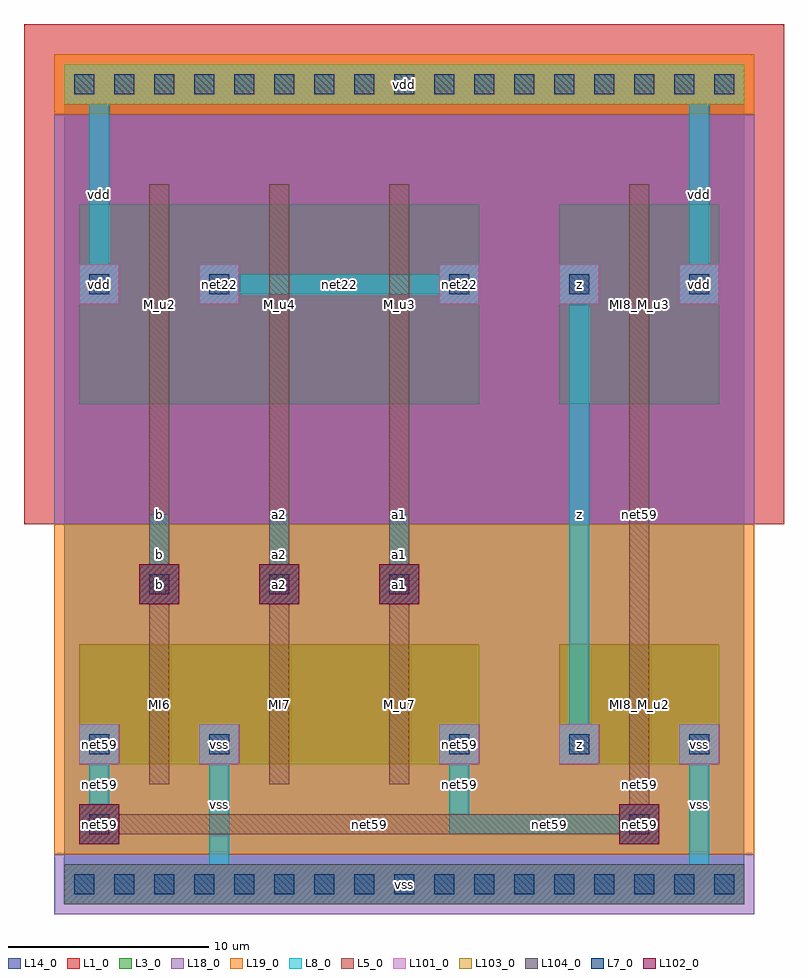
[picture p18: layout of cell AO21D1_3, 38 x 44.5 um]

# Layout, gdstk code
import gdstk
lib = gdstk.Library(unit=1e-6, precision=1e-09)
def R(c, l, rs):  # rectangles x0, y0, x1, y1
    for r in rs: c.add(gdstk.rectangle(r[:2], r[2:], *l))
def A(c, l, x, y, w, h, nx, ny, dx, dy):  # array of equal rectangles
    R(c, l, [(x+i*dx, y+j*dy, x+i*dx+w, y+j*dy+h) for i in range(nx) for j in range(ny)])
L1_0 = (1, 0)
L3_0 = (3, 0)
L5_0 = (5, 0)
L7_0 = (7, 0)
L8_0 = (8, 0)
L13_0 = (13, 0)
L14_0 = (14, 0)
L18_0 = (18, 0)
L19_0 = (19, 0)
L101_0 = (101, 0)
L102_0 = (102, 0)
L103_0 = (103, 0)
L104_0 = (104, 0)

ao21d1_3 = lib.new_cell('AO21D1_3')
R(ao21d1_3, L1_0, [(-2,18,36,43)])
A(ao21d1_3, L3_0, 0.75, 6, 8, 6, 3, 1, 6, 0)
A(ao21d1_3, L3_0, 18.75, 6, 2, 2, 3, 2, 6, 23)
A(ao21d1_3, L3_0, 0.75, 24, 8, 10, 3, 1, 6, 0)
R(ao21d1_3, L3_0, [(0,-1,34,1), (0,-1,34,1), (0.75,6,2.75,8), (6.75,6,8.75,8), (24.75,6,32.75,12), (24.75,24,32.75,34), (0.75,29,2.75,31), (6.75,29,8.75,31), (0,39,34,41), (0,39,34,41)])
A(ao21d1_3, L5_0, 4.25, 5, 1, 8, 3, 1, 6, 0)
A(ao21d1_3, L5_0, 4.25, 6.5, 1, 24, 3, 1, 6, 0)
A(ao21d1_3, L5_0, 3.75, 14, 2, 2, 3, 1, 6, 0)
A(ao21d1_3, L5_0, 4.25, 23, 1, 12, 3, 1, 6, 0)
R(ao21d1_3, L5_0, [(0.75,2,2.75,4), (27.75,2,29.75,4), (1.25,2.5,29.25,3.5), (28.25,2.5,29.25,7.5), (28.25,2.5,29.25,7.5), (28.25,5,29.25,13), (28.25,6.5,29.25,30.5), (28.25,23,29.25,35)])
A(ao21d1_3, L7_0, 0.5, -0.5, 1, 1, 17, 2, 2, 40)
A(ao21d1_3, L7_0, 19.25, 6.5, 1, 1, 3, 2, 6, 23)
A(ao21d1_3, L7_0, 4.25, 14.5, 1, 1, 3, 1, 6, 0)
R(ao21d1_3, L7_0, [(1.25,2.5,2.25,3.5), (28.25,2.5,29.25,3.5), (1.25,6.5,2.25,7.5), (7.25,6.5,8.25,7.5), (1.25,29.5,2.25,30.5), (7.25,29.5,8.25,30.5)])
A(ao21d1_3, L8_0, 18.75, 6, 2, 2, 3, 2, 6, 23)
A(ao21d1_3, L8_0, 3.75, 14, 2, 2, 3, 1, 6, 0)
A(ao21d1_3, L8_0, 4.25, 14.5, 1, 4, 3, 1, 6, 0)
R(ao21d1_3, L8_0, [(0,-1,34,1), (7.25,0.5,8.25,7.5), (31.25,0.5,32.25,7.5), (0.75,2,2.75,4), (27.75,2,29.75,4), (1.25,2.5,2.25,7.5), (19.25,2.5,20.25,7.5), (19.25,2.5,29.25,3.5), (0.75,6,2.75,8), (6.75,6,8.75,8), (25.25,6.5,26.25,30.5), (0.75,29,2.75,31), (6.75,29,8.75,31), (1.25,29.5,2.25,39.5), (7.25,29.5,20.25,30.5), (31.25,29.5,32.25,39.5), (0,39,34,41)])
R(ao21d1_3, L14_0, [(0,0,34,40)])
R(ao21d1_3, L18_0, [(-0.5,-1.5,34.5,1.5), (-0.5,18,34.5,38.5)])
R(ao21d1_3, L19_0, [(-0.5,1.5,34.5,18), (-0.5,38.5,34.5,41.5)])
A(ao21d1_3, L101_0, 0, -1, 2, 2, 17, 2, 2, 40)
A(ao21d1_3, L101_0, 18.75, 6, 2, 2, 3, 2, 6, 23)
R(ao21d1_3, L101_0, [(0.75,6,2.75,8), (6.75,6,8.75,8), (0.75,29,2.75,31), (6.75,29,8.75,31)])
A(ao21d1_3, L102_0, 3.75, 14, 2, 2, 3, 1, 6, 0)
R(ao21d1_3, L102_0, [(0.75,2,2.75,4), (27.75,2,29.75,4)])
R(ao21d1_3, L103_0, [(0,39,34,41)])
R(ao21d1_3, L104_0, [(0,-1,34,1)])
ao21d1_3.add(gdstk.FlexPath([(0.75,3),(32.75,3)], 0, ends="flush", simple_path=True, layer=13, datatype=0))  # L13_0
ao21d1_3.add(gdstk.FlexPath([(0.75,7),(32.75,7)], 0, ends="flush", simple_path=True, layer=13, datatype=0))  # L13_0
ao21d1_3.add(gdstk.FlexPath([(0.75,11),(32.75,11)], 0, ends="flush", simple_path=True, layer=13, datatype=0))  # L13_0
ao21d1_3.add(gdstk.FlexPath([(0.75,15),(32.75,15)], 0, ends="flush", simple_path=True, layer=13, datatype=0))  # L13_0
ao21d1_3.add(gdstk.FlexPath([(0.75,18),(32.75,18)], 0, ends="flush", simple_path=True, layer=13, datatype=0))  # L13_0
ao21d1_3.add(gdstk.FlexPath([(0.75,21),(32.75,21)], 0, ends="flush", simple_path=True, layer=13, datatype=0))  # L13_0
ao21d1_3.add(gdstk.FlexPath([(0.75,25),(32.75,25)], 0, ends="flush", simple_path=True, layer=13, datatype=0))  # L13_0
ao21d1_3.add(gdstk.FlexPath([(0.75,30),(32.75,30)], 0, ends="flush", simple_path=True, layer=13, datatype=0))  # L13_0
ao21d1_3.add(gdstk.FlexPath([(0.75,33),(32.75,33)], 0, ends="flush", simple_path=True, layer=13, datatype=0))  # L13_0
ao21d1_3.add(gdstk.FlexPath([(0.75,37),(32.75,37)], 0, ends="flush", simple_path=True, layer=13, datatype=0))  # L13_0
ao21d1_3.add(gdstk.FlexPath([(1.75,0.5),(1.75,39.5)], 0, ends="flush", simple_path=True, layer=13, datatype=0))  # L13_0
ao21d1_3.add(gdstk.FlexPath([(4.75,0.5),(4.75,39.5)], 0, ends="flush", simple_path=True, layer=13, datatype=0))  # L13_0
ao21d1_3.add(gdstk.FlexPath([(7.75,0.5),(7.75,39.5)], 0, ends="flush", simple_path=True, layer=13, datatype=0))  # L13_0
ao21d1_3.add(gdstk.FlexPath([(10.75,0.5),(10.75,39.5)], 0, ends="flush", simple_path=True, layer=13, datatype=0))  # L13_0
ao21d1_3.add(gdstk.FlexPath([(13.75,0.5),(13.75,39.5)], 0, ends="flush", simple_path=True, layer=13, datatype=0))  # L13_0
ao21d1_3.add(gdstk.FlexPath([(16.75,0.5),(16.75,39.5)], 0, ends="flush", simple_path=True, layer=13, datatype=0))  # L13_0
ao21d1_3.add(gdstk.FlexPath([(19.75,0.5),(19.75,39.5)], 0, ends="flush", simple_path=True, layer=13, datatype=0))  # L13_0
ao21d1_3.add(gdstk.FlexPath([(22.75,0.5),(22.75,39.5)], 0, ends="flush", simple_path=True, layer=13, datatype=0))  # L13_0
ao21d1_3.add(gdstk.FlexPath([(25.75,0.5),(25.75,39.5)], 0, ends="flush", simple_path=True, layer=13, datatype=0))  # L13_0
ao21d1_3.add(gdstk.FlexPath([(28.75,0.5),(28.75,39.5)], 0, ends="flush", simple_path=True, layer=13, datatype=0))  # L13_0
ao21d1_3.add(gdstk.FlexPath([(31.75,0.5),(31.75,39.5)], 0, ends="flush", simple_path=True, layer=13, datatype=0))  # L13_0
ao21d1_3.add(gdstk.Label('MI7', (10.75,9), layer=3, texttype=0))
ao21d1_3.add(gdstk.Label('M_u7', (16.75,9), layer=3, texttype=0))
ao21d1_3.add(gdstk.Label('MI6', (4.75,9), layer=3, texttype=0))
ao21d1_3.add(gdstk.Label('MI8_M_u2', (28.75,9), layer=3, texttype=0))
ao21d1_3.add(gdstk.Label('M_u3', (16.75,29), layer=3, texttype=0))
ao21d1_3.add(gdstk.Label('MI8_M_u3', (28.75,29), layer=3, texttype=0))
ao21d1_3.add(gdstk.Label('M_u4', (10.75,29), layer=3, texttype=0))
ao21d1_3.add(gdstk.Label('M_u2', (4.75,29), layer=3, texttype=0))
ao21d1_3.add(gdstk.Label('net59', (19.75,7), layer=3, texttype=0))
ao21d1_3.add(gdstk.Label('net59', (1.75,7), layer=3, texttype=0))
ao21d1_3.add(gdstk.Label('z', (25.75,7), layer=3, texttype=0))
ao21d1_3.add(gdstk.Label('z', (25.75,30), layer=3, texttype=0))
ao21d1_3.add(gdstk.Label('net22', (19.75,30), layer=3, texttype=0))
ao21d1_3.add(gdstk.Label('net22', (7.75,30), layer=3, texttype=0))
ao21d1_3.add(gdstk.Label('vss', (7.75,7), layer=3, texttype=0))
ao21d1_3.add(gdstk.Label('vss', (31.75,7), layer=3, texttype=0))
ao21d1_3.add(gdstk.Label('vdd', (31.75,30), layer=3, texttype=0))
ao21d1_3.add(gdstk.Label('vdd', (1.75,30), layer=3, texttype=0))
ao21d1_3.add(gdstk.Label('a2', (10.75,18.5), layer=5, texttype=0))
ao21d1_3.add(gdstk.Label('a2', (10.75,15), layer=5, texttype=0))
ao21d1_3.add(gdstk.Label('net59', (28.75,3), layer=5, texttype=0))
ao21d1_3.add(gdstk.Label('net59', (28.75,5), layer=5, texttype=0))
ao21d1_3.add(gdstk.Label('net59', (28.75,18.5), layer=5, texttype=0))
ao21d1_3.add(gdstk.Label('net59', (1.75,3), layer=5, texttype=0))
ao21d1_3.add(gdstk.Label('net59', (15.25,3), layer=5, texttype=0))
ao21d1_3.add(gdstk.Label('net59', (28.75,5), layer=5, texttype=0))
ao21d1_3.add(gdstk.Label('a1', (16.75,18.5), layer=5, texttype=0))
ao21d1_3.add(gdstk.Label('a1', (16.75,15), layer=5, texttype=0))
ao21d1_3.add(gdstk.Label('b', (4.75,18.5), layer=5, texttype=0))
ao21d1_3.add(gdstk.Label('b', (4.75,15), layer=5, texttype=0))
ao21d1_3.add(gdstk.Label('net59', (19.75,7), layer=101, texttype=0))
ao21d1_3.add(gdstk.Label('net59', (1.75,7), layer=101, texttype=0))
ao21d1_3.add(gdstk.Label('z', (25.75,7), layer=101, texttype=0))
ao21d1_3.add(gdstk.Label('z', (25.75,30), layer=101, texttype=0))
ao21d1_3.add(gdstk.Label('net22', (19.75,30), layer=101, texttype=0))
ao21d1_3.add(gdstk.Label('net22', (7.75,30), layer=101, texttype=0))
ao21d1_3.add(gdstk.Label('vss', (7.75,7), layer=101, texttype=0))
ao21d1_3.add(gdstk.Label('vss', (31.75,7), layer=101, texttype=0))
ao21d1_3.add(gdstk.Label('vdd', (31.75,30), layer=101, texttype=0))
ao21d1_3.add(gdstk.Label('vdd', (1.75,30), layer=101, texttype=0))
ao21d1_3.add(gdstk.Label('a2', (10.75,15), layer=102, texttype=0))
ao21d1_3.add(gdstk.Label('net59', (28.75,3), layer=102, texttype=0))
ao21d1_3.add(gdstk.Label('net59', (1.75,3), layer=102, texttype=0))
ao21d1_3.add(gdstk.Label('a1', (16.75,15), layer=102, texttype=0))
ao21d1_3.add(gdstk.Label('b', (4.75,15), layer=102, texttype=0))
ao21d1_3.add(gdstk.Label('a2', (10.75,15), layer=8, texttype=0))
ao21d1_3.add(gdstk.Label('a2', (10.75,16.5), layer=8, texttype=0))
ao21d1_3.add(gdstk.Label('net59', (19.75,7), layer=8, texttype=0))
ao21d1_3.add(gdstk.Label('net59', (1.75,7), layer=8, texttype=0))
ao21d1_3.add(gdstk.Label('net59', (19.75,5), layer=8, texttype=0))
ao21d1_3.add(gdstk.Label('net59', (24.25,3), layer=8, texttype=0))
ao21d1_3.add(gdstk.Label('net59', (28.75,3), layer=8, texttype=0))
ao21d1_3.add(gdstk.Label('net59', (1.75,5), layer=8, texttype=0))
ao21d1_3.add(gdstk.Label('net59', (1.75,3), layer=8, texttype=0))
ao21d1_3.add(gdstk.Label('a1', (16.75,15), layer=8, texttype=0))
ao21d1_3.add(gdstk.Label('a1', (16.75,16.5), layer=8, texttype=0))
ao21d1_3.add(gdstk.Label('b', (4.75,15), layer=8, texttype=0))
ao21d1_3.add(gdstk.Label('b', (4.75,16.5), layer=8, texttype=0))
ao21d1_3.add(gdstk.Label('z', (25.75,7), layer=8, texttype=0))
ao21d1_3.add(gdstk.Label('z', (25.75,30), layer=8, texttype=0))
ao21d1_3.add(gdstk.Label('z', (25.75,18.5), layer=8, texttype=0))
ao21d1_3.add(gdstk.Label('net22', (19.75,30), layer=8, texttype=0))
ao21d1_3.add(gdstk.Label('net22', (7.75,30), layer=8, texttype=0))
ao21d1_3.add(gdstk.Label('net22', (13.75,30), layer=8, texttype=0))
ao21d1_3.add(gdstk.Label('vss', (7.75,7), layer=8, texttype=0))
ao21d1_3.add(gdstk.Label('vss', (7.75,4), layer=8, texttype=0))
ao21d1_3.add(gdstk.Label('vss', (31.75,7), layer=8, texttype=0))
ao21d1_3.add(gdstk.Label('vss', (31.75,4), layer=8, texttype=0))
ao21d1_3.add(gdstk.Label('vdd', (31.75,30), layer=8, texttype=0))
ao21d1_3.add(gdstk.Label('vdd', (31.75,34.5), layer=8, texttype=0))
ao21d1_3.add(gdstk.Label('vdd', (1.75,30), layer=8, texttype=0))
ao21d1_3.add(gdstk.Label('vdd', (1.75,34.5), layer=8, texttype=0))
ao21d1_3.add(gdstk.Label('vss', (17,0), layer=8, texttype=0))
ao21d1_3.add(gdstk.Label('vdd', (17,40), layer=8, texttype=0))

lib.write_gds('AO21D1_3.gds')
